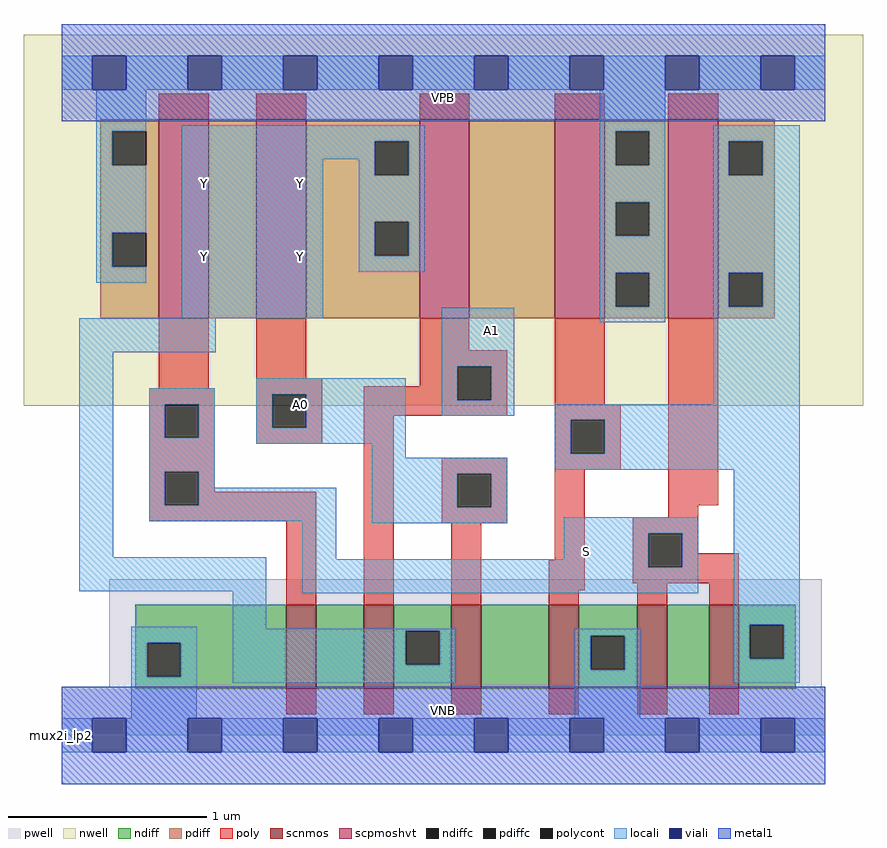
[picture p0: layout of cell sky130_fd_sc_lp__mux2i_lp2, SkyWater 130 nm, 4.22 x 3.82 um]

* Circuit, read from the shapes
.subckt sky130_fd_sc_lp__mux2i_lp2 A0 A1 S VGND VNB VPB VPWR Y
XM1 n1 S VGND VNB sky130_fd_pr__nfet_01v8 w=0.42 l=0.15
XM2 Y A1 n1 VNB sky130_fd_pr__nfet_01v8 w=0.42 l=0.15
XM3 n2 A0 Y VNB sky130_fd_pr__nfet_01v8 w=0.42 l=0.15
XM4 VGND n3 n2 VNB sky130_fd_pr__nfet_01v8 w=0.42 l=0.15
XM5 n4 S VGND VNB sky130_fd_pr__nfet_01v8 w=0.42 l=0.15
XM6 n3 S n4 VNB sky130_fd_pr__nfet_01v8 w=0.42 l=0.15
XM7 n5 S VPWR VPB sky130_fd_pr__pfet_01v8_hvt w=1 l=0.25
XM8 Y A0 n5 VPB sky130_fd_pr__pfet_01v8_hvt w=1 l=0.25
XM9 n6 A1 Y VPB sky130_fd_pr__pfet_01v8_hvt w=1 l=0.25
XM10 VPWR n3 n6 VPB sky130_fd_pr__pfet_01v8_hvt w=1 l=0.25
XM11 n3 S VPWR VPB sky130_fd_pr__pfet_01v8_hvt w=1 l=0.25
.ends

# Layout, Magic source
magic
tech sky130A
magscale 1 2
<< nwell >>
rect -38 331 806 704
<< pwell >>
rect 48 49 764 157
rect 0 0 768 49
<< scnmos >>
rect 226 47 256 131
rect 304 47 334 131
rect 392 47 422 131
rect 490 47 520 131
rect 579 47 609 131
rect 651 47 681 131
<< scpmoshvt >>
rect 98 419 148 619
rect 196 419 246 619
rect 360 419 410 619
rect 496 419 546 619
rect 610 419 660 619
<< ndiff >>
rect 74 93 226 131
rect 74 59 86 93
rect 120 59 226 93
rect 74 47 226 59
rect 256 47 304 131
rect 334 105 392 131
rect 334 71 346 105
rect 380 71 392 105
rect 334 47 392 71
rect 422 47 490 131
rect 520 100 579 131
rect 520 66 532 100
rect 566 66 579 100
rect 520 47 579 66
rect 609 47 651 131
rect 681 111 738 131
rect 681 77 692 111
rect 726 77 738 111
rect 681 47 738 77
<< pdiff >>
rect 39 607 98 619
rect 39 573 51 607
rect 85 573 98 607
rect 39 505 98 573
rect 39 471 51 505
rect 85 471 98 505
rect 39 419 98 471
rect 148 419 196 619
rect 246 597 360 619
rect 246 563 315 597
rect 349 563 360 597
rect 246 516 360 563
rect 246 482 315 516
rect 349 482 360 516
rect 246 419 360 482
rect 410 419 496 619
rect 546 607 610 619
rect 546 573 557 607
rect 591 573 610 607
rect 546 536 610 573
rect 546 502 557 536
rect 591 502 610 536
rect 546 465 610 502
rect 546 431 557 465
rect 591 431 610 465
rect 546 419 610 431
rect 660 597 717 619
rect 660 563 671 597
rect 705 563 717 597
rect 660 465 717 563
rect 660 431 671 465
rect 705 431 717 465
rect 660 419 717 431
<< ndiffc >>
rect 86 59 120 93
rect 346 71 380 105
rect 532 66 566 100
rect 692 77 726 111
<< pdiffc >>
rect 51 573 85 607
rect 51 471 85 505
rect 315 563 349 597
rect 315 482 349 516
rect 557 573 591 607
rect 557 502 591 536
rect 557 431 591 465
rect 671 563 705 597
rect 671 431 705 465
<< poly >>
rect 98 619 148 645
rect 196 619 246 645
rect 360 619 410 645
rect 496 619 546 645
rect 610 619 660 645
rect 98 349 148 419
rect 196 359 246 419
rect 360 387 410 419
rect 360 371 448 387
rect 88 333 154 349
rect 88 299 104 333
rect 138 299 154 333
rect 88 265 154 299
rect 196 343 262 359
rect 360 351 398 371
rect 196 309 212 343
rect 246 309 262 343
rect 196 293 262 309
rect 304 337 398 351
rect 432 337 448 371
rect 304 321 448 337
rect 496 333 546 419
rect 88 231 104 265
rect 138 245 154 265
rect 138 231 256 245
rect 88 215 256 231
rect 226 131 256 215
rect 304 131 334 321
rect 496 317 562 333
rect 496 283 512 317
rect 546 283 562 317
rect 382 263 448 279
rect 382 229 398 263
rect 432 229 448 263
rect 382 213 448 229
rect 496 267 562 283
rect 392 131 422 213
rect 496 176 526 267
rect 610 231 660 419
rect 610 219 640 231
rect 490 146 526 176
rect 574 203 640 219
rect 574 169 590 203
rect 624 183 640 203
rect 624 169 681 183
rect 574 153 681 169
rect 490 131 520 146
rect 579 131 609 153
rect 651 131 681 153
rect 226 21 256 47
rect 304 21 334 47
rect 392 21 422 47
rect 490 21 520 47
rect 579 21 609 47
rect 651 21 681 47
<< polycont >>
rect 104 299 138 333
rect 212 309 246 343
rect 398 337 432 371
rect 104 231 138 265
rect 512 283 546 317
rect 398 229 432 263
rect 590 169 624 203
<< locali >>
rect 0 649 31 683
rect 65 649 127 683
rect 161 649 223 683
rect 257 649 319 683
rect 353 649 415 683
rect 449 649 511 683
rect 545 649 607 683
rect 641 649 703 683
rect 737 649 768 683
rect 35 607 85 649
rect 35 573 51 607
rect 35 505 85 573
rect 35 471 51 505
rect 35 455 85 471
rect 121 597 365 613
rect 121 579 315 597
rect 121 419 263 579
rect 299 563 315 579
rect 349 563 365 597
rect 299 516 365 563
rect 299 482 315 516
rect 349 482 365 516
rect 299 466 365 482
rect 541 607 607 649
rect 541 573 557 607
rect 591 573 607 607
rect 541 536 607 573
rect 541 502 557 536
rect 591 502 607 536
rect 541 465 607 502
rect 541 431 557 465
rect 591 431 607 465
rect 18 385 155 419
rect 18 179 52 385
rect 382 371 455 430
rect 541 415 607 431
rect 655 597 742 613
rect 655 563 671 597
rect 705 563 742 597
rect 655 465 742 563
rect 655 431 671 465
rect 705 431 742 465
rect 88 333 154 349
rect 88 299 104 333
rect 138 299 154 333
rect 88 265 154 299
rect 196 343 346 359
rect 196 309 212 343
rect 246 309 346 343
rect 382 337 398 371
rect 432 337 455 371
rect 382 321 455 337
rect 655 333 742 431
rect 196 293 346 309
rect 88 231 104 265
rect 138 249 154 265
rect 312 279 346 293
rect 496 317 742 333
rect 496 283 512 317
rect 546 283 742 317
rect 312 263 448 279
rect 496 267 742 283
rect 138 231 276 249
rect 88 215 276 231
rect 18 145 206 179
rect 70 93 136 109
rect 70 59 86 93
rect 120 59 136 93
rect 70 17 136 59
rect 172 107 206 145
rect 242 177 276 215
rect 312 229 398 263
rect 432 229 448 263
rect 312 213 448 229
rect 505 203 640 219
rect 505 177 590 203
rect 242 169 590 177
rect 624 169 640 203
rect 242 143 640 169
rect 676 111 742 267
rect 172 105 396 107
rect 172 71 346 105
rect 380 71 396 105
rect 172 53 396 71
rect 516 100 582 107
rect 516 66 532 100
rect 566 66 582 100
rect 516 17 582 66
rect 676 77 692 111
rect 726 77 742 111
rect 676 53 742 77
rect 0 -17 31 17
rect 65 -17 127 17
rect 161 -17 223 17
rect 257 -17 319 17
rect 353 -17 415 17
rect 449 -17 511 17
rect 545 -17 607 17
rect 641 -17 703 17
rect 737 -17 768 17
<< viali >>
rect 31 649 65 683
rect 127 649 161 683
rect 223 649 257 683
rect 319 649 353 683
rect 415 649 449 683
rect 511 649 545 683
rect 607 649 641 683
rect 703 649 737 683
rect 31 -17 65 17
rect 127 -17 161 17
rect 223 -17 257 17
rect 319 -17 353 17
rect 415 -17 449 17
rect 511 -17 545 17
rect 607 -17 641 17
rect 703 -17 737 17
<< metal1 >>
rect 0 683 768 715
rect 0 649 31 683
rect 65 649 127 683
rect 161 649 223 683
rect 257 649 319 683
rect 353 649 415 683
rect 449 649 511 683
rect 545 649 607 683
rect 641 649 703 683
rect 737 649 768 683
rect 0 617 768 649
rect 0 17 768 49
rect 0 -17 31 17
rect 65 -17 127 17
rect 161 -17 223 17
rect 257 -17 319 17
rect 353 -17 415 17
rect 449 -17 511 17
rect 545 -17 607 17
rect 641 -17 703 17
rect 737 -17 768 17
rect 0 -49 768 -17
<< labels >>
flabel pwell s 0 0 768 49 0 FreeSans 200 0 0 0 VNB
port 5 nsew ground bidirectional
flabel nwell s 0 617 768 666 0 FreeSans 200 0 0 0 VPB
port 6 nsew power bidirectional
rlabel comment s 0 0 0 0 4 mux2i_lp2
flabel metal1 s 0 617 768 666 0 FreeSans 340 0 0 0 VPWR
port 7 nsew power bidirectional
flabel metal1 s 0 0 768 49 0 FreeSans 340 0 0 0 VGND
port 4 nsew ground bidirectional
flabel locali s 511 168 545 202 0 FreeSans 340 0 0 0 S
port 3 nsew signal input
flabel locali s 415 390 449 424 0 FreeSans 340 0 0 0 A1
port 2 nsew signal input
flabel locali s 223 316 257 350 0 FreeSans 340 0 0 0 A0
port 1 nsew signal input
flabel locali s 127 464 161 498 0 FreeSans 340 0 0 0 Y
port 8 nsew signal output
flabel locali s 127 538 161 572 0 FreeSans 340 0 0 0 Y
port 8 nsew signal output
flabel locali s 223 464 257 498 0 FreeSans 340 0 0 0 Y
port 8 nsew signal output
flabel locali s 223 538 257 572 0 FreeSans 340 0 0 0 Y
port 8 nsew signal output
<< properties >>
string LEFsite unit
string LEFclass CORE
string FIXED_BBOX 0 0 768 666
string GDS_FILE $PDKPATH/libs.ref/sky130_fd_sc_lp/gds/sky130_fd_sc_lp.gds
string LEFsymmetry X Y R90
string GDS_END 3875840
string GDS_START 3869518
<< end >>
